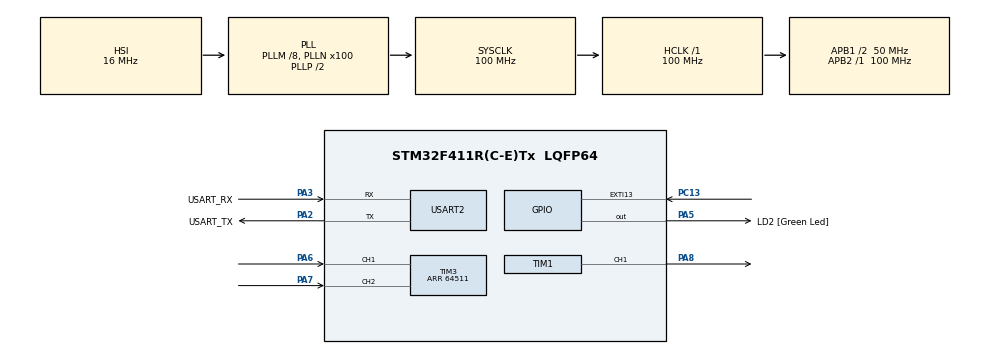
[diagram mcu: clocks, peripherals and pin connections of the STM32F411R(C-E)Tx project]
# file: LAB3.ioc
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Mcu.Family=STM32F4
Mcu.Name=STM32F411R(C-E)Tx
Mcu.Package=LQFP64
NVIC.PriorityGroup=NVIC_PRIORITYGROUP_0
NVIC.TIM1_TRG_COM_TIM11_IRQn=true\:0\:0\:false\:false\:true\:true\:true
PA13.GPIO_Label=TMS
PA13.Mode=Serial_Wire
PA13.Signal=SYS_JTMS-SWDIO
PA14.GPIO_Label=TCK
PA14.Mode=Serial_Wire
PA14.Signal=SYS_JTCK-SWCLK
PA2.GPIO_Label=USART_TX
PA2.Mode=Asynchronous
PA2.Signal=USART2_TX
PA3.GPIO_Label=USART_RX
PA3.Mode=Asynchronous
PA3.Signal=USART2_RX
PA5.GPIO_Label=LD2 [Green Led]
PA5.Signal=GPIO_Output
PA6.Signal=S_TIM3_CH1
PA7.Signal=S_TIM3_CH2
PA8.Signal=S_TIM1_CH1
PB3.GPIO_Label=SWO
PB3.Signal=SYS_JTDO-SWO
PC13-ANTI_TAMP.Signal=GPXTI13
PC14-OSC32_IN.Mode=LSE-External-Oscillator
PC14-OSC32_IN.Signal=RCC_OSC32_IN
PC15-OSC32_OUT.Mode=LSE-External-Oscillator
PC15-OSC32_OUT.Signal=RCC_OSC32_OUT
PH0\ -\ OSC_IN.Mode=HSE-External-Clock-Source
PH0\ -\ OSC_IN.Signal=RCC_OSC_IN
PH1\ -\ OSC_OUT.Mode=HSE-External-Clock-Source
PH1\ -\ OSC_OUT.Signal=RCC_OSC_OUT
ProjectManager.HeapSize=0x200
ProjectManager.StackSize=0x400
ProjectManager.TargetToolchain=STM32CubeIDE
RCC.48MHZClocksFreq_Value=50000000
RCC.AHBFreq_Value=100000000
RCC.APB1CLKDivider=RCC_HCLK_DIV2
RCC.APB1Freq_Value=50000000
RCC.APB1TimFreq_Value=100000000
RCC.APB2Freq_Value=100000000
RCC.APB2TimFreq_Value=100000000
RCC.CortexFreq_Value=100000000
RCC.FLatency-AdvancedSettings=FLASH_LATENCY_3
RCC.HCLKFreq_Value=100000000
RCC.HSE_VALUE=8000000
RCC.HSI_VALUE=16000000
RCC.PLLM=8
RCC.PLLN=100
RCC.SYSCLKFreq_VALUE=100000000
RCC.SYSCLKSource=RCC_SYSCLKSOURCE_PLLCLK
RCC.VCOOutputFreq_Value=200000000
SH.S_TIM1_CH1.0=TIM1_CH1,PWM Generation1 CH1
SH.S_TIM3_CH1.0=TIM3_CH1,Encoder_Interface
SH.S_TIM3_CH2.0=TIM3_CH2,Encoder_Interface
TIM1.Channel-PWM\ Generation1\ CH1=TIM_CHANNEL_1
TIM1.Period=999
TIM1.Prescaler=99
TIM11.Period=9999
TIM11.Prescaler=999
TIM3.EncoderMode=TIM_ENCODERMODE_TI12
TIM3.Period=64511
USART2.VirtualMode=VM_ASYNC
VP_TIM11_VS_ClockSourceINT.Mode=Enable_Timer
VP_TIM1_VS_ClockSourceINT.Mode=Internal
board=NUCLEO-F411RE

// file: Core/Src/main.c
/* USER CODE BEGIN Header */
/**
  ******************************************************************************
  * @file           : main.c
  * @brief          : Main program body
  ******************************************************************************
  * @attention
  *
  * Copyright (c) 2022 STMicroelectronics.
  * All rights reserved.
  *
  * This software is licensed under terms that can be found in the LICENSE file
  * in the root directory of this software component.
  * If no LICENSE file comes with this software, it is provided AS-IS.
  *
  ******************************************************************************
  */
/* USER CODE END Header */
#include "main.h"

TIM_HandleTypeDef htim1;
TIM_HandleTypeDef htim3;
TIM_HandleTypeDef htim11;

UART_HandleTypeDef huart2;

/* USER CODE BEGIN PV */
uint8_t update = 0; //every 1kHz
uint16_t PWMOut = 1000; //motor
float degree = 0; //Position
float y_pre = 0 , y = 0, y_rad = 0, y_p = 0; //y_pre = previous y (degree), y = current y (degree), y_rad = current y (rad), y_p = predicted y
float v_p = 0, v = 0, v_k1 = 0; //v_p = previous v (rad/s), v = current v (rad/s), v_k1 = v from kalman
float a_p = 0, a = 0, a_k1 = 0; //a_p = previous a (rad/s2), a = current a (rad/s2), a_k1 = a from kalman
float p_n = 0, p_n_b = 0, p_0 = 0, p_0_b = 0; //p_n = degree from Encoder, p_n = previous degree, p_0 = unwrap degree, p_0_b = previous unwrap degree

float x[3] = {0}, x_p[3] = {0}, x_k1[3] = {0}; //state (p = predict, k1 = k+1 (update)) : [p,v,a]
float p[3] = {0}, p_p[3] = {0}, p_k1[3] = {0}; //covariance
float K[3] = {0}; //kalman gain
/* USER CODE END PV */

void SystemClock_Config(void);
static void MX_GPIO_Init(void);
static void MX_USART2_UART_Init(void);
static void MX_TIM1_Init(void);
static void MX_TIM3_Init(void);
static void MX_TIM11_Init(void);

int main(void)
{

  /* MCU Configuration--------------------------------------------------------*/

  /* Reset of all peripherals, Initializes the Flash interface and the Systick. */
  HAL_Init();

  /* Configure the system clock */
  SystemClock_Config();

  /* Initialize all configured peripherals */
  MX_GPIO_Init();
  MX_USART2_UART_Init();
  MX_TIM1_Init();
  MX_TIM3_Init();
  MX_TIM11_Init();
  /* USER CODE BEGIN 2 */
  //Drive motor
  HAL_TIM_Base_Start(&htim1); //start tim1
  HAL_TIM_PWM_Start(&htim1, TIM_CHANNEL_1);
  //QEI
  HAL_TIM_Encoder_Start(&htim3, TIM_CHANNEL_ALL); //start QEI
  //Tim Interrupt
  HAL_TIM_Base_Start_IT(&htim11);
  /* USER CODE END 2 */

  /* Infinite loop */
  /* USER CODE BEGIN WHILE */
  while (1)
  {
	  static float dt = 0.1; //delta t (100Hz)
	  static float R = 0.5, Q = 800;

	  __HAL_TIM_SET_COMPARE(&htim1, TIM_CHANNEL_1, PWMOut);

	  //if tim interrupt
	  if(update == 1){
		  uint16_t rawData = TIM3->CNT;
		  degree = ((rawData%3072)/3071.0)*360.0;

		  //Unwrap
		  p_n = degree;
		  if(p_n - p_n_b < -180.0)
		  {
			  p_0 = p_0_b + 360.0;
		  }else if(p_n - p_n_b > 180.0)
		  {
			  p_0 = p_0_b - 360.0;
		  }
		  y = p_0 + p_n;
		  p_0_b = p_0;
		  p_n_b = p_n;

		  //Calculate position, velocity, acceleration (motor)
		  y_rad = (y*3.14)/180.0;
		  v = (y_rad - y_pre)/dt;
		  a = (v - v_p)/dt;

		  //Predict
		  //State
		  x_p[0] = x[0] + x[1]*dt;
		  x_p[1] = x[1];
		  x_p[2] = 0;
		  //Covariance
		  p_p[0] = p[0] + p[3]*dt + (p[1] + p[4]*dt)*dt + 0.25*Q*dt*dt*dt*dt;
		  p_p[1] = p[1] + p[4]*dt + 0.5*Q*dt*dt*dt;
		  p_p[2] = 0.5*Q*dt*dt;
		  p_p[3] = p[3] + p[4]*dt + 0.5*Q*dt*dt*dt;
		  p_p[4] = p[4] + Q*dt*dt;
		  p_p[5] = Q*dt;
		  p_p[6] = 0.5*Q*dt*dt;
		  p_p[7] = Q*dt;
		  p_p[8] = Q;

		  //Update
		  //Sensor model
		  y_p = x_p[0];
		  //Kalman gain
		  K[0] = p_p[0]/(p_p[0]+R);
		  K[1] = p_p[3]/(p_p[0]+R);
		  K[2] = p_p[6]/(p_p[0]+R);
		  //State
		  x_k1[0] = x_p[0] + K[0]*(y-y_p); //y-y_p = error (real-predict)
		  x_k1[1] = x_p[1] + K[1]*(y-y_p);
		  x_k1[2] = x_p[2] + K[2]*(y-y_p);
		  //Covariance
		  p_k1[0] = (1-K[0])*p_p[0];
		  p_k1[1] = (1-K[0])*p_p[1];
		  p_k1[2] = (1-K[0])*p_p[2];
		  p_k1[3] = (-K[1]*p_p[0]) + p_p[3];
		  p_k1[4] = (-K[1]*p_p[1]) + p_p[4];
		  p_k1[5] = (-K[1]*p_p[2]) + p_p[5];
		  p_k1[6] = (-K[2]*p_p[0]) + p_p[6];
		  p_k1[7] = (-K[2]*p_p[1]) + p_p[7];
		  p_k1[8] = (-K[2]*p_p[2]) + p_p[8];
		  //change unit of velocity,acceleration from kalman filter
		  v_k1 = (x_k1[1]*3.14)/180.0;
		  a_k1 = (x_k1[2]*3.14)/180.0;

		  //set new current value
		  for(int i = 0; i < 3; i++){
			  x[i] = x_k1[i];
		  }
		  for(int j = 0; j < 9; j++){
			  p[j] = p_k1[j];
		  }
		  y_pre = y_rad;
		  v_p = v;

		  update = 0;
	  }
    /* USER CODE END WHILE */

  }
}

void SystemClock_Config(void)
{
  RCC_OscInitTypeDef RCC_OscInitStruct = {0};
  RCC_ClkInitTypeDef RCC_ClkInitStruct = {0};

  /** Configure the main internal regulator output voltage
  */
  __HAL_RCC_PWR_CLK_ENABLE();
  __HAL_PWR_VOLTAGESCALING_CONFIG(PWR_REGULATOR_VOLTAGE_SCALE1);
  /** Initializes the RCC Oscillators according to the specified parameters
  * in the RCC_OscInitTypeDef structure.
  */
  RCC_OscInitStruct.OscillatorType = RCC_OSCILLATORTYPE_HSI;
  RCC_OscInitStruct.HSIState = RCC_HSI_ON;
  RCC_OscInitStruct.HSICalibrationValue = RCC_HSICALIBRATION_DEFAULT;
  RCC_OscInitStruct.PLL.PLLState = RCC_PLL_ON;
  RCC_OscInitStruct.PLL.PLLSource = RCC_PLLSOURCE_HSI;
  RCC_OscInitStruct.PLL.PLLM = 8;
  RCC_OscInitStruct.PLL.PLLN = 100;
  RCC_OscInitStruct.PLL.PLLP = RCC_PLLP_DIV2;
  RCC_OscInitStruct.PLL.PLLQ = 4;
  if (HAL_RCC_OscConfig(&RCC_OscInitStruct) != HAL_OK)
  {
    Error_Handler();
  }
  /** Initializes the CPU, AHB and APB buses clocks
  */
  RCC_ClkInitStruct.ClockType = RCC_CLOCKTYPE_HCLK|RCC_CLOCKTYPE_SYSCLK
                              |RCC_CLOCKTYPE_PCLK1|RCC_CLOCKTYPE_PCLK2;
  RCC_ClkInitStruct.SYSCLKSource = RCC_SYSCLKSOURCE_PLLCLK;
  RCC_ClkInitStruct.AHBCLKDivider = RCC_SYSCLK_DIV1;
  RCC_ClkInitStruct.APB1CLKDivider = RCC_HCLK_DIV2;
  RCC_ClkInitStruct.APB2CLKDivider = RCC_HCLK_DIV1;

  if (HAL_RCC_ClockConfig(&RCC_ClkInitStruct, FLASH_LATENCY_3) != HAL_OK)
  {
    Error_Handler();
  }
}

static void MX_TIM1_Init(void)
{

  TIM_ClockConfigTypeDef sClockSourceConfig = {0};
  TIM_MasterConfigTypeDef sMasterConfig = {0};
  TIM_OC_InitTypeDef sConfigOC = {0};
  TIM_BreakDeadTimeConfigTypeDef sBreakDeadTimeConfig = {0};

  htim1.Instance = TIM1;
  htim1.Init.Prescaler = 99;
  htim1.Init.CounterMode = TIM_COUNTERMODE_UP;
  htim1.Init.Period = 999;
  htim1.Init.ClockDivision = TIM_CLOCKDIVISION_DIV1;
  htim1.Init.RepetitionCounter = 0;
  htim1.Init.AutoReloadPreload = TIM_AUTORELOAD_PRELOAD_DISABLE;
  if (HAL_TIM_Base_Init(&htim1) != HAL_OK)
  {
    Error_Handler();
  }
  sClockSourceConfig.ClockSource = TIM_CLOCKSOURCE_INTERNAL;
  if (HAL_TIM_ConfigClockSource(&htim1, &sClockSourceConfig) != HAL_OK)
  {
    Error_Handler();
  }
  if (HAL_TIM_PWM_Init(&htim1) != HAL_OK)
  {
    Error_Handler();
  }
  sMasterConfig.MasterOutputTrigger = TIM_TRGO_RESET;
  sMasterConfig.MasterSlaveMode = TIM_MASTERSLAVEMODE_DISABLE;
  if (HAL_TIMEx_MasterConfigSynchronization(&htim1, &sMasterConfig) != HAL_OK)
  {
    Error_Handler();
  }
  sConfigOC.OCMode = TIM_OCMODE_PWM1;
  sConfigOC.Pulse = 0;
  sConfigOC.OCPolarity = TIM_OCPOLARITY_HIGH;
  sConfigOC.OCNPolarity = TIM_OCNPOLARITY_HIGH;
  sConfigOC.OCFastMode = TIM_OCFAST_DISABLE;
  sConfigOC.OCIdleState = TIM_OCIDLESTATE_RESET;
  sConfigOC.OCNIdleState = TIM_OCNIDLESTATE_RESET;
  if (HAL_TIM_PWM_ConfigChannel(&htim1, &sConfigOC, TIM_CHANNEL_1) != HAL_OK)
  {
    Error_Handler();
  }
  sBreakDeadTimeConfig.OffStateRunMode = TIM_OSSR_DISABLE;
  sBreakDeadTimeConfig.OffStateIDLEMode = TIM_OSSI_DISABLE;
  sBreakDeadTimeConfig.LockLevel = TIM_LOCKLEVEL_OFF;
  sBreakDeadTimeConfig.DeadTime = 0;
  sBreakDeadTimeConfig.BreakState = TIM_BREAK_DISABLE;
  sBreakDeadTimeConfig.BreakPolarity = TIM_BREAKPOLARITY_HIGH;
  sBreakDeadTimeConfig.AutomaticOutput = TIM_AUTOMATICOUTPUT_DISABLE;
  if (HAL_TIMEx_ConfigBreakDeadTime(&htim1, &sBreakDeadTimeConfig) != HAL_OK)
  {
    Error_Handler();
  }
  HAL_TIM_MspPostInit(&htim1);

}

static void MX_TIM3_Init(void)
{

  TIM_Encoder_InitTypeDef sConfig = {0};
  TIM_MasterConfigTypeDef sMasterConfig = {0};

  htim3.Instance = TIM3;
  htim3.Init.Prescaler = 0;
  htim3.Init.CounterMode = TIM_COUNTERMODE_UP;
  htim3.Init.Period = 64511;
  htim3.Init.ClockDivision = TIM_CLOCKDIVISION_DIV1;
  htim3.Init.AutoReloadPreload = TIM_AUTORELOAD_PRELOAD_DISABLE;
  sConfig.EncoderMode = TIM_ENCODERMODE_TI12;
  sConfig.IC1Polarity = TIM_ICPOLARITY_RISING;
  sConfig.IC1Selection = TIM_ICSELECTION_DIRECTTI;
  sConfig.IC1Prescaler = TIM_ICPSC_DIV1;
  sConfig.IC1Filter = 0;
  sConfig.IC2Polarity = TIM_ICPOLARITY_RISING;
  sConfig.IC2Selection = TIM_ICSELECTION_DIRECTTI;
  sConfig.IC2Prescaler = TIM_ICPSC_DIV1;
  sConfig.IC2Filter = 0;
  if (HAL_TIM_Encoder_Init(&htim3, &sConfig) != HAL_OK)
  {
    Error_Handler();
  }
  sMasterConfig.MasterOutputTrigger = TIM_TRGO_RESET;
  sMasterConfig.MasterSlaveMode = TIM_MASTERSLAVEMODE_DISABLE;
  if (HAL_TIMEx_MasterConfigSynchronization(&htim3, &sMasterConfig) != HAL_OK)
  {
    Error_Handler();
  }

}

static void MX_TIM11_Init(void)
{

  htim11.Instance = TIM11;
  htim11.Init.Prescaler = 999;
  htim11.Init.CounterMode = TIM_COUNTERMODE_UP;
  htim11.Init.Period = 9999;
  htim11.Init.ClockDivision = TIM_CLOCKDIVISION_DIV1;
  htim11.Init.AutoReloadPreload = TIM_AUTORELOAD_PRELOAD_DISABLE;
  if (HAL_TIM_Base_Init(&htim11) != HAL_OK)
  {
    Error_Handler();
  }

}

static void MX_USART2_UART_Init(void)
{

  huart2.Instance = USART2;
  huart2.Init.BaudRate = 115200;
  huart2.Init.WordLength = UART_WORDLENGTH_8B;
  huart2.Init.StopBits = UART_STOPBITS_1;
  huart2.Init.Parity = UART_PARITY_NONE;
  huart2.Init.Mode = UART_MODE_TX_RX;
  huart2.Init.HwFlowCtl = UART_HWCONTROL_NONE;
  huart2.Init.OverSampling = UART_OVERSAMPLING_16;
  if (HAL_UART_Init(&huart2) != HAL_OK)
  {
    Error_Handler();
  }

}

static void MX_GPIO_Init(void)
{
  GPIO_InitTypeDef GPIO_InitStruct = {0};

  /* GPIO Ports Clock Enable */
  __HAL_RCC_GPIOC_CLK_ENABLE();
  __HAL_RCC_GPIOH_CLK_ENABLE();
  __HAL_RCC_GPIOA_CLK_ENABLE();
  __HAL_RCC_GPIOB_CLK_ENABLE();

  /*Configure GPIO pin Output Level */
  HAL_GPIO_WritePin(LD2_GPIO_Port, LD2_Pin, GPIO_PIN_RESET);

  /*Configure GPIO pin : PC13 */
  GPIO_InitStruct.Pin = GPIO_PIN_13;
  GPIO_InitStruct.Mode = GPIO_MODE_IT_RISING;
  GPIO_InitStruct.Pull = GPIO_NOPULL;
  HAL_GPIO_Init(GPIOC, &GPIO_InitStruct);

  /*Configure GPIO pin : LD2_Pin */
  GPIO_InitStruct.Pin = LD2_Pin;
  GPIO_InitStruct.Mode = GPIO_MODE_OUTPUT_PP;
  GPIO_InitStruct.Pull = GPIO_NOPULL;
  GPIO_InitStruct.Speed = GPIO_SPEED_FREQ_LOW;
  HAL_GPIO_Init(LD2_GPIO_Port, &GPIO_InitStruct);

}

/* USER CODE BEGIN 4 */
void HAL_TIM_PeriodElapsedCallback(TIM_HandleTypeDef *htim)
{
	if(htim == &htim11)
	{
		update = 1;
	}
}
/* USER CODE END 4 */

void Error_Handler(void)
{
  __disable_irq();
  while (1)
  {
  }
}
